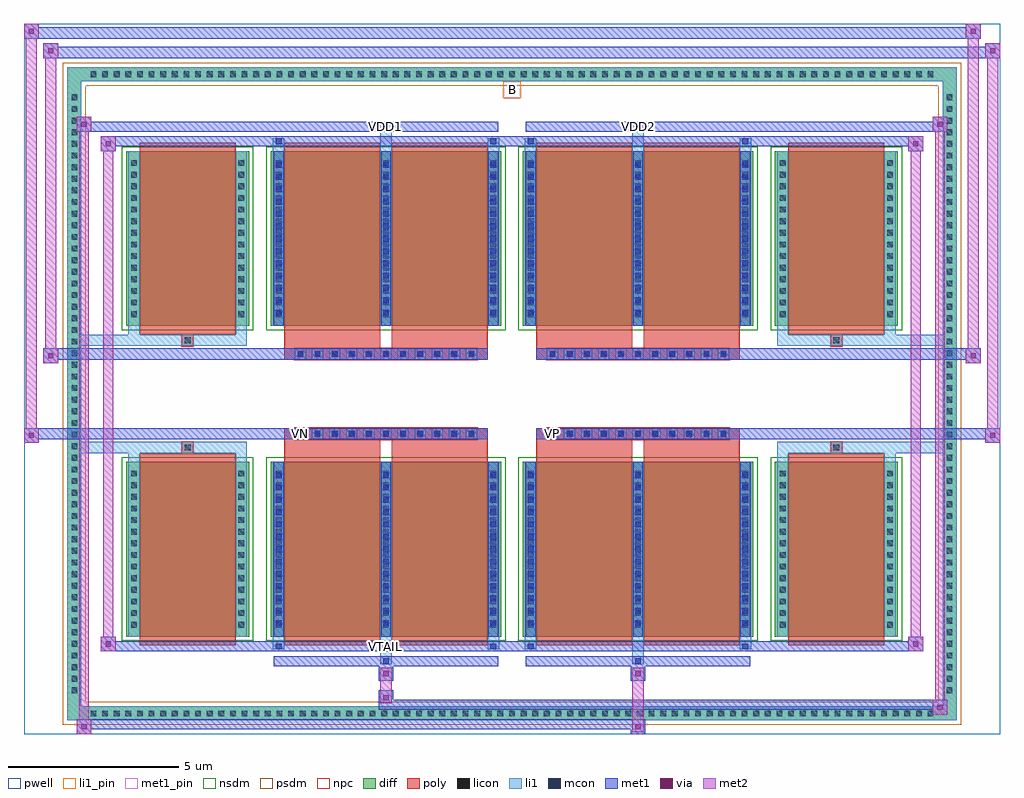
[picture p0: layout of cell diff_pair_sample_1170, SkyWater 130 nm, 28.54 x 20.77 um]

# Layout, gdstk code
import gdstk
lib = gdstk.Library(unit=1e-6, precision=5e-09)
def R(c, l, rs):  # rectangles x0, y0, x1, y1
    for r in rs: c.add(gdstk.rectangle(r[:2], r[2:], *l))
def A(c, l, x, y, w, h, nx, ny, dx, dy):  # array of equal rectangles
    R(c, l, [(x+i*dx, y+j*dy, x+i*dx+w, y+j*dy+h) for i in range(nx) for j in range(ny)])
def P(c, l, *ps):  # polygons
    for p in ps: c.add(gdstk.Polygon(p, *l))
pwell = (64, 44)
diff = (65, 20)
poly = (66, 20)
licon = (66, 44)
li1_pin = (67, 16)
li1 = (67, 20)
mcon = (67, 44)
met1_pin = (68, 16)
met1 = (68, 20)
via = (68, 44)
met2 = (69, 20)
nsdm = (93, 44)
psdm = (94, 20)
npc = (95, 20)

diff_pair_sample_1170 = lib.new_cell('diff_pair_sample_1170')
R(diff_pair_sample_1170, pwell, [(-14.27,-9.95,14.27,10.82), (-11.59,-8.14,-0.01,-0.8), (0.01,-8.14,11.59,-0.8), (-11.59,0.8,-0.01,8.14), (0.01,0.8,11.59,8.14)])
A(diff_pair_sample_1170, diff, -12.445, -9.55, 0.41, 0.41, 73, 2, 0.34, 18.69)
A(diff_pair_sample_1170, diff, -13, -8.875, 0.41, 0.41, 1, 52, 0, 0.34)
A(diff_pair_sample_1170, diff, 12.59, -8.875, 0.41, 0.41, 1, 52, 0, 0.34)
R(diff_pair_sample_1170, diff, [(-12.445,-9.55,12.445,-9.14), (-13,-8.875,-12.59,8.875), (12.59,-8.875,13,8.875), (-11.28,-7.095,-7.69,-1.985), (-7.05,-7.095,-0.32,-1.985), (0.32,-7.095,7.05,-1.985), (7.69,-7.095,11.28,-1.985), (-11.28,1.985,-7.69,7.095), (-7.05,1.985,-0.32,7.095), (0.32,1.985,7.05,7.095), (7.69,1.985,11.28,7.095), (-12.445,9.14,12.445,9.55)])
P(diff_pair_sample_1170, diff, [(13,9.55),(-13,9.55),(-13,-9.14),(-12.59,-9.14),(-12.59,9.14),(12.59,9.14),(12.59,-9.14),(-12.59,-9.14),(-13,-9.14),(-13,-9.55),(13,-9.55)])
A(diff_pair_sample_1170, poly, -6.35, -1.33, 0.33, 0.33, 11, 2, 0.5, 2.33)
A(diff_pair_sample_1170, poly, 1.02, -1.33, 0.33, 0.33, 11, 2, 0.5, 2.33)
R(diff_pair_sample_1170, poly, [(-10.89,-7.345,-8.08,-1.735), (-6.66,-7.345,-3.85,-1.735), (-3.52,-7.345,-0.71,-1.735), (0.71,-7.345,3.52,-1.735), (3.85,-7.345,6.66,-1.735), (8.08,-7.345,10.89,-1.735), (-9.65,-1.735,-9.32,-1.405), (-9.65,-1.735,-9.32,-1.405), (-6.66,-1.735,-3.85,-1.33), (-3.52,-1.735,-0.71,-1.33), (0.71,-1.735,3.52,-1.33), (3.85,-1.735,6.66,-1.33), (9.32,-1.735,9.65,-1.405), (9.32,-1.735,9.65,-1.405), (-6.66,-1.33,-0.71,-1), (0.71,-1.33,6.66,-1), (-6.66,1,-0.71,1.33), (0.71,1,6.66,1.33), (-6.66,1.33,-3.85,1.735), (-3.52,1.33,-0.71,1.735), (0.71,1.33,3.52,1.735), (3.85,1.33,6.66,1.735), (-9.65,1.405,-9.32,1.735), (-9.65,1.405,-9.32,1.735), (9.32,1.405,9.65,1.735), (9.32,1.405,9.65,1.735), (-10.89,1.735,-8.08,7.345), (-6.66,1.735,-3.85,7.345), (-3.52,1.735,-0.71,7.345), (0.71,1.735,3.52,7.345), (3.85,1.735,6.66,7.345), (8.08,1.735,10.89,7.345)])
A(diff_pair_sample_1170, licon, -12.325, -9.43, 0.17, 0.17, 73, 2, 0.34, 18.69)
A(diff_pair_sample_1170, licon, -12.88, -8.755, 0.17, 0.17, 1, 52, 0, 0.34)
A(diff_pair_sample_1170, licon, 12.71, -8.755, 0.17, 0.17, 1, 52, 0, 0.34)
A(diff_pair_sample_1170, licon, -11.14, -6.835, 0.17, 0.17, 1, 14, 0, 0.34)
A(diff_pair_sample_1170, licon, -8, -6.835, 0.17, 0.17, 1, 14, 0, 0.34)
A(diff_pair_sample_1170, licon, -6.91, -6.835, 0.17, 0.17, 3, 14, 3.14, 0.34)
A(diff_pair_sample_1170, licon, 0.46, -6.835, 0.17, 0.17, 3, 14, 3.14, 0.34)
A(diff_pair_sample_1170, licon, 7.83, -6.835, 0.17, 0.17, 1, 14, 0, 0.34)
A(diff_pair_sample_1170, licon, 10.97, -6.835, 0.17, 0.17, 1, 14, 0, 0.34)
A(diff_pair_sample_1170, licon, -6.27, -1.25, 0.17, 0.17, 11, 2, 0.5, 2.33)
A(diff_pair_sample_1170, licon, 1.1, -1.25, 0.17, 0.17, 11, 2, 0.5, 2.33)
A(diff_pair_sample_1170, licon, -11.14, 2.245, 0.17, 0.17, 1, 14, 0, 0.34)
A(diff_pair_sample_1170, licon, -8, 2.245, 0.17, 0.17, 1, 14, 0, 0.34)
A(diff_pair_sample_1170, licon, -6.91, 2.245, 0.17, 0.17, 3, 14, 3.14, 0.34)
A(diff_pair_sample_1170, licon, 0.46, 2.245, 0.17, 0.17, 3, 14, 3.14, 0.34)
A(diff_pair_sample_1170, licon, 7.83, 2.245, 0.17, 0.17, 1, 14, 0, 0.34)
A(diff_pair_sample_1170, licon, 10.97, 2.245, 0.17, 0.17, 1, 14, 0, 0.34)
R(diff_pair_sample_1170, licon, [(-9.57,-1.655,-9.4,-1.485), (9.4,-1.655,9.57,-1.485), (-9.57,1.485,-9.4,1.655), (9.4,1.485,9.57,1.655)])
R(diff_pair_sample_1170, li1_pin, [(-0.25,8.64,0.25,9.14)])
A(diff_pair_sample_1170, li1, -12.405, -9.51, 0.33, 0.33, 73, 2, 0.34, 18.69)
A(diff_pair_sample_1170, li1, -12.96, -8.835, 0.33, 0.33, 1, 52, 0, 0.34)
A(diff_pair_sample_1170, li1, 12.63, -8.835, 0.33, 0.33, 1, 52, 0, 0.34)
A(diff_pair_sample_1170, li1, -6.99, -7.095, 0.33, 5.11, 3, 2, 3.14, 9.08)
A(diff_pair_sample_1170, li1, 0.38, -7.095, 0.33, 5.11, 3, 2, 3.14, 9.08)
A(diff_pair_sample_1170, li1, -11.22, -6.915, 0.33, 0.33, 1, 14, 0, 0.34)
A(diff_pair_sample_1170, li1, -8.08, -6.915, 0.33, 0.33, 1, 14, 0, 0.34)
A(diff_pair_sample_1170, li1, -6.99, -6.915, 0.33, 0.33, 3, 14, 3.14, 0.34)
A(diff_pair_sample_1170, li1, 0.38, -6.915, 0.33, 0.33, 3, 14, 3.14, 0.34)
A(diff_pair_sample_1170, li1, 7.75, -6.915, 0.33, 0.33, 1, 14, 0, 0.34)
A(diff_pair_sample_1170, li1, 10.89, -6.915, 0.33, 0.33, 1, 14, 0, 0.34)
A(diff_pair_sample_1170, li1, -6.91, -6.785, 0.17, 0.17, 3, 13, 3.14, 0.36)
A(diff_pair_sample_1170, li1, -6.91, -6.785, 0.17, 4.49, 3, 2, 3.14, 9.08)
A(diff_pair_sample_1170, li1, 0.46, -6.785, 0.17, 0.17, 3, 13, 3.14, 0.36)
A(diff_pair_sample_1170, li1, 0.46, -6.785, 0.17, 4.49, 3, 2, 3.14, 9.08)
A(diff_pair_sample_1170, li1, -6.35, -1.33, 0.33, 0.33, 11, 2, 0.5, 2.33)
A(diff_pair_sample_1170, li1, 1.02, -1.33, 0.33, 0.33, 11, 2, 0.5, 2.33)
A(diff_pair_sample_1170, li1, -11.22, 2.165, 0.33, 0.33, 1, 14, 0, 0.34)
A(diff_pair_sample_1170, li1, -8.08, 2.165, 0.33, 0.33, 1, 14, 0, 0.34)
A(diff_pair_sample_1170, li1, -6.99, 2.165, 0.33, 0.33, 3, 14, 3.14, 0.34)
A(diff_pair_sample_1170, li1, 0.38, 2.165, 0.33, 0.33, 3, 14, 3.14, 0.34)
A(diff_pair_sample_1170, li1, 7.75, 2.165, 0.33, 0.33, 1, 14, 0, 0.34)
A(diff_pair_sample_1170, li1, 10.89, 2.165, 0.33, 0.33, 1, 14, 0, 0.34)
A(diff_pair_sample_1170, li1, -6.91, 2.295, 0.17, 0.17, 3, 13, 3.14, 0.36)
A(diff_pair_sample_1170, li1, 0.46, 2.295, 0.17, 0.17, 3, 13, 3.14, 0.36)
R(diff_pair_sample_1170, li1, [(-13,-9.55,-12.59,-9.14), (-13,-9.55,-12.59,-9.14), (-12.59,-9.55,12.59,-9.14), (12.59,-9.55,13,-9.14), (12.59,-9.55,13,-9.14), (-13,-9.14,-12.59,9.14), (12.59,-9.14,13,9.14), (-3.85,-7.9,-3.52,-7.095), (-3.77,-7.9,-3.6,-7.73), (3.52,-7.9,3.85,-7.095), (3.6,-7.9,3.77,-7.73), (-6.99,-7.47,-6.66,-7.095), (-6.91,-7.47,-6.74,-7.3), (-0.71,-7.47,-0.38,-7.095), (-0.63,-7.47,-0.46,-7.3), (0.38,-7.47,0.71,-7.095), (0.46,-7.47,0.63,-7.3), (6.66,-7.47,6.99,-7.095), (6.74,-7.47,6.91,-7.3), (-11.22,-7.095,-10.89,-1.985), (-8.08,-7.095,-7.75,-1.985), (7.75,-7.095,8.08,-1.985), (10.89,-7.095,11.22,-1.985), (-11.22,-1.985,-10.89,-1.405), (-8.08,-1.985,-7.75,-1.405), (7.75,-1.985,8.08,-1.405), (10.89,-1.985,11.22,-1.405), (-13,-1.735,-9.65,-1.405), (-11.22,-1.735,-9.65,-1.405), (-9.65,-1.735,-9.32,-1.405), (-9.32,-1.735,-7.75,-1.405), (7.75,-1.735,9.32,-1.405), (9.32,-1.735,9.65,-1.405), (9.32,-1.735,13,-1.405), (9.65,-1.735,11.22,-1.405), (-13,1.405,-9.65,1.735), (-11.22,1.405,-9.65,1.735), (-11.22,1.405,-10.89,1.985), (-9.65,1.405,-9.32,1.735), (-9.32,1.405,-7.75,1.735), (-8.08,1.405,-7.75,1.985), (7.75,1.405,9.32,1.735), (7.75,1.405,8.08,1.985), (9.32,1.405,9.65,1.735), (9.32,1.405,13,1.735), (9.65,1.405,11.22,1.735), (10.89,1.405,11.22,1.985), (-11.22,1.985,-10.89,7.095), (-8.08,1.985,-7.75,7.095), (7.75,1.985,8.08,7.095), (10.89,1.985,11.22,7.095), (-6.99,7.095,-6.66,7.47), (-3.85,7.095,-3.52,7.9), (-0.71,7.095,-0.38,7.47), (0.38,7.095,0.71,7.47), (3.52,7.095,3.85,7.9), (6.66,7.095,6.99,7.47), (-6.91,7.3,-6.74,7.47), (-0.63,7.3,-0.46,7.47), (0.46,7.3,0.63,7.47), (6.74,7.3,6.91,7.47), (-3.77,7.73,-3.6,7.9), (3.6,7.73,3.77,7.9), (-13,9.14,-12.59,9.55), (-13,9.14,-12.59,9.55), (-12.59,9.14,12.59,9.55), (12.59,9.14,13,9.55), (12.59,9.14,13,9.55)])
A(diff_pair_sample_1170, mcon, -6.91, -6.785, 0.17, 0.17, 3, 13, 3.14, 0.36)
A(diff_pair_sample_1170, mcon, 0.46, -6.785, 0.17, 0.17, 3, 13, 3.14, 0.36)
A(diff_pair_sample_1170, mcon, -6.27, -1.25, 0.17, 0.17, 11, 2, 0.5, 2.33)
A(diff_pair_sample_1170, mcon, 1.1, -1.25, 0.17, 0.17, 11, 2, 0.5, 2.33)
A(diff_pair_sample_1170, mcon, -6.91, 2.295, 0.17, 0.17, 3, 13, 3.14, 0.36)
A(diff_pair_sample_1170, mcon, 0.46, 2.295, 0.17, 0.17, 3, 13, 3.14, 0.36)
R(diff_pair_sample_1170, mcon, [(-3.77,-7.9,-3.6,-7.73), (3.6,-7.9,3.77,-7.73), (-6.91,-7.47,-6.74,-7.3), (-0.63,-7.47,-0.46,-7.3), (0.46,-7.47,0.63,-7.3), (6.74,-7.47,6.91,-7.3), (-6.91,7.3,-6.74,7.47), (-0.63,7.3,-0.46,7.47), (0.46,7.3,0.63,7.47), (6.74,7.3,6.91,7.47), (-3.77,7.73,-3.6,7.9), (3.6,7.73,3.77,7.9)])
R(diff_pair_sample_1170, met1_pin, [(-3.82,-7.51,-3.55,-7.24), (-6.32,-1.29,-6.05,-1.02), (1.05,-1.29,1.32,-1.02), (-3.82,7.69,-3.55,7.96), (3.55,7.69,3.82,7.96)])
A(diff_pair_sample_1170, met1, -6.97, -7.095, 0.29, 5.11, 3, 2, 3.14, 9.08)
A(diff_pair_sample_1170, met1, 0.4, -7.095, 0.29, 5.11, 3, 2, 3.14, 9.08)
A(diff_pair_sample_1170, met1, -6.97, -6.845, 0.29, 0.29, 3, 13, 3.14, 0.36)
A(diff_pair_sample_1170, met1, 0.4, -6.845, 0.29, 0.29, 3, 13, 3.14, 0.36)
A(diff_pair_sample_1170, met1, -6.33, -1.31, 0.29, 0.29, 11, 2, 0.5, 2.33)
A(diff_pair_sample_1170, met1, 1.04, -1.31, 0.29, 0.29, 11, 2, 0.5, 2.33)
A(diff_pair_sample_1170, met1, -6.97, 2.235, 0.29, 0.29, 3, 13, 3.14, 0.36)
A(diff_pair_sample_1170, met1, 0.4, 2.235, 0.29, 0.29, 3, 13, 3.14, 0.36)
R(diff_pair_sample_1170, met1, [(-12.73,-9.95,-12.3,-9.52), (3.47,-9.95,3.9,-9.52), (-12.73,-9.81,3.9,-9.52), (12.3,-9.38,12.73,-8.95), (-3.9,-9.24,12.73,-8.95), (-3.9,-9.1,-3.47,-8.67), (-3.9,-8.39,-3.47,-7.96), (3.47,-8.39,3.9,-7.96), (-6.97,-7.96,-0.4,-7.67), (-3.83,-7.96,-3.54,-7.67), (0.4,-7.96,6.97,-7.67), (3.54,-7.96,3.83,-7.67), (-12.02,-7.53,-11.59,-7.1), (-12.02,-7.53,-6.97,-7.24), (-6.97,-7.53,-6.68,-7.24), (-6.97,-7.53,-0.4,-7.24), (-0.69,-7.53,-0.4,-7.24), (-0.4,-7.53,0.4,-7.24), (0.4,-7.53,0.69,-7.24), (0.4,-7.53,6.97,-7.24), (6.68,-7.53,6.97,-7.24), (6.97,-7.53,12.02,-7.24), (11.59,-7.53,12.02,-7.1), (-14.27,-1.43,-13.84,-1), (13.84,-1.43,14.27,-1), (-14.27,-1.33,-0.71,-1), (-6.66,-1.33,-0.71,-1), (0.71,-1.33,6.66,-1), (0.71,-1.33,14.27,-1), (-13.7,0.9,-13.27,1.33), (13.27,0.9,13.7,1.33), (-13.7,1,-6.66,1.33), (-6.66,1,-0.71,1.33), (0.71,1,6.66,1.33), (6.66,1,13.7,1.33), (-12.02,7.1,-11.59,7.53), (11.59,7.1,12.02,7.53), (-12.02,7.24,-6.97,7.53), (-6.97,7.24,-6.68,7.53), (-6.97,7.24,-0.4,7.53), (-0.69,7.24,-0.4,7.53), (-0.4,7.24,0.4,7.53), (0.4,7.24,0.69,7.53), (0.4,7.24,6.97,7.53), (6.68,7.24,6.97,7.53), (6.97,7.24,12.02,7.53), (-12.73,7.67,-12.3,8.1), (-12.73,7.67,-6.97,7.96), (-6.97,7.67,-0.4,7.96), (-3.83,7.67,-3.54,7.96), (0.4,7.67,6.97,7.96), (3.54,7.67,3.83,7.96), (6.97,7.67,12.73,7.96), (12.3,7.67,12.73,8.1), (-13.7,9.82,-13.27,10.25), (-13.7,9.82,-11.59,10.15), (-11.59,9.82,11.59,10.15), (11.59,9.82,14.27,10.15), (13.84,9.82,14.27,10.25), (-14.27,10.39,-13.84,10.82), (-14.27,10.39,-11.59,10.72), (-11.59,10.39,11.59,10.72), (11.59,10.39,13.7,10.72), (13.27,10.39,13.7,10.82)])
R(diff_pair_sample_1170, via, [(-12.59,-9.81,-12.44,-9.66), (3.61,-9.81,3.76,-9.66), (12.44,-9.24,12.59,-9.09), (-3.76,-8.96,-3.61,-8.81), (-3.76,-8.25,-3.61,-8.1), (3.61,-8.25,3.76,-8.1), (-11.88,-7.39,-11.73,-7.24), (11.73,-7.39,11.88,-7.24), (-14.13,-1.29,-13.98,-1.14), (13.98,-1.29,14.13,-1.14), (-13.56,1.04,-13.41,1.19), (13.41,1.04,13.56,1.19), (-11.88,7.24,-11.73,7.39), (11.73,7.24,11.88,7.39), (-12.59,7.81,-12.44,7.96), (12.44,7.81,12.59,7.96), (-13.56,9.96,-13.41,10.11), (13.98,9.96,14.13,10.11), (-14.13,10.53,-13.98,10.68), (13.41,10.53,13.56,10.68)])
R(diff_pair_sample_1170, met2, [(-12.73,-9.95,-12.3,-9.52), (-12.66,-9.95,-12.37,8.1), (-12.37,-9.95,-12.3,-9.52), (-12.68,-9.9,-12.35,-9.57), (3.52,-9.9,3.85,-9.57), (3.52,-9.57,3.85,-8.34), (12.3,-9.38,12.73,-8.95), (12.37,-9.38,12.66,8.1), (12.66,-9.38,12.73,-8.95), (12.35,-9.33,12.68,-9), (-3.85,-9.05,-3.52,-8.72), (-3.85,-8.72,-3.52,-8.34), (-3.85,-8.34,-3.52,-8.01), (3.52,-8.34,3.85,-8.01), (-12.02,-7.53,-11.59,-7.1), (-11.95,-7.53,-11.66,7.53), (-11.66,-7.53,-11.59,-7.1), (11.59,-7.53,12.02,-7.1), (11.66,-7.53,11.95,7.53), (11.95,-7.53,12.02,-7.1), (-11.97,-7.48,-11.64,-7.15), (11.64,-7.48,11.97,-7.15), (-14.27,-1.43,-13.84,-1), (-14.22,-1.43,-13.89,10.82), (-13.89,-1.43,-13.84,-1), (13.84,-1.43,14.27,-1), (13.89,-1.43,14.22,10.25), (14.22,-1.43,14.27,-1), (-14.22,-1.38,-13.89,-1.05), (13.89,-1.38,14.22,-1.05), (-13.7,0.9,-13.27,1.33), (-13.65,0.9,-13.32,10.25), (-13.32,0.9,-13.27,1.33), (13.27,0.9,13.7,1.33), (13.32,0.9,13.65,10.82), (13.65,0.9,13.7,1.33), (-13.65,0.95,-13.32,1.28), (13.32,0.95,13.65,1.28), (-12.02,7.1,-11.59,7.53), (-11.66,7.1,-11.59,7.53), (11.59,7.1,12.02,7.53), (11.95,7.1,12.02,7.53), (-11.97,7.15,-11.64,7.48), (11.64,7.15,11.97,7.48), (-12.73,7.67,-12.3,8.1), (-12.37,7.67,-12.3,8.1), (12.3,7.67,12.73,8.1), (12.66,7.67,12.73,8.1), (-12.68,7.72,-12.35,8.05), (12.35,7.72,12.68,8.05), (-13.7,9.82,-13.27,10.25), (-13.32,9.82,-13.27,10.25), (13.84,9.82,14.27,10.25), (14.22,9.82,14.27,10.25), (-13.65,9.87,-13.32,10.2), (13.89,9.87,14.22,10.2), (-14.27,10.39,-13.84,10.82), (-13.89,10.39,-13.84,10.82), (13.27,10.39,13.7,10.82), (13.65,10.39,13.7,10.82), (-14.22,10.44,-13.89,10.77), (13.32,10.44,13.65,10.77)])
R(diff_pair_sample_1170, nsdm, [(-11.41,-7.225,-7.56,-1.855), (-7.18,-7.225,-0.19,-1.855), (0.19,-7.225,7.18,-1.855), (7.56,-7.225,11.41,-1.855), (-11.41,1.855,-7.56,7.225), (-7.18,1.855,-0.19,7.225), (0.19,1.855,7.18,7.225), (7.56,1.855,11.41,7.225)])
P(diff_pair_sample_1170, psdm, [(13.13,9.68),(-13.13,9.68),(-13.13,-9.01),(-12.46,-9.01),(-12.46,9.01),(12.46,9.01),(12.46,-9.01),(-12.46,-9.01),(-13.13,-9.01),(-13.13,-9.68),(13.13,-9.68)])
A(diff_pair_sample_1170, npc, -6.37, -1.35, 0.37, 0.37, 11, 2, 0.5, 2.33)
A(diff_pair_sample_1170, npc, 1, -1.35, 0.37, 0.37, 11, 2, 0.5, 2.33)
R(diff_pair_sample_1170, npc, [(-9.67,-1.755,-9.3,-1.385), (9.3,-1.755,9.67,-1.385), (-6.37,-1.35,-5.5,-0.98), (-6.37,-1.35,-5.5,-0.98), (-5.87,-1.35,-5,-0.98), (-5.87,-1.35,-5,-0.98), (-5.37,-1.35,-4.5,-0.98), (-5.37,-1.35,-4.5,-0.98), (-4.87,-1.35,-4,-0.98), (-4.87,-1.35,-4,-0.98), (-4.37,-1.35,-3.5,-0.98), (-4.37,-1.35,-3.5,-0.98), (-3.87,-1.35,-3,-0.98), (-3.87,-1.35,-3,-0.98), (-3.37,-1.35,-2.5,-0.98), (-3.37,-1.35,-2.5,-0.98), (-2.87,-1.35,-2,-0.98), (-2.87,-1.35,-2,-0.98), (-2.37,-1.35,-1.5,-0.98), (-2.37,-1.35,-1.5,-0.98), (-1.87,-1.35,-1,-0.98), (-1.87,-1.35,-1,-0.98), (1,-1.35,1.87,-0.98), (1,-1.35,1.87,-0.98), (1.5,-1.35,2.37,-0.98), (1.5,-1.35,2.37,-0.98), (2,-1.35,2.87,-0.98), (2,-1.35,2.87,-0.98), (2.5,-1.35,3.37,-0.98), (2.5,-1.35,3.37,-0.98), (3,-1.35,3.87,-0.98), (3,-1.35,3.87,-0.98), (3.5,-1.35,4.37,-0.98), (3.5,-1.35,4.37,-0.98), (4,-1.35,4.87,-0.98), (4,-1.35,4.87,-0.98), (4.5,-1.35,5.37,-0.98), (4.5,-1.35,5.37,-0.98), (5,-1.35,5.87,-0.98), (5,-1.35,5.87,-0.98), (5.5,-1.35,6.37,-0.98), (5.5,-1.35,6.37,-0.98), (-6.37,0.98,-5.5,1.35), (-6.37,0.98,-5.5,1.35), (-5.87,0.98,-5,1.35), (-5.87,0.98,-5,1.35), (-5.37,0.98,-4.5,1.35), (-5.37,0.98,-4.5,1.35), (-4.87,0.98,-4,1.35), (-4.87,0.98,-4,1.35), (-4.37,0.98,-3.5,1.35), (-4.37,0.98,-3.5,1.35), (-3.87,0.98,-3,1.35), (-3.87,0.98,-3,1.35), (-3.37,0.98,-2.5,1.35), (-3.37,0.98,-2.5,1.35), (-2.87,0.98,-2,1.35), (-2.87,0.98,-2,1.35), (-2.37,0.98,-1.5,1.35), (-2.37,0.98,-1.5,1.35), (-1.87,0.98,-1,1.35), (-1.87,0.98,-1,1.35), (1,0.98,1.87,1.35), (1,0.98,1.87,1.35), (1.5,0.98,2.37,1.35), (1.5,0.98,2.37,1.35), (2,0.98,2.87,1.35), (2,0.98,2.87,1.35), (2.5,0.98,3.37,1.35), (2.5,0.98,3.37,1.35), (3,0.98,3.87,1.35), (3,0.98,3.87,1.35), (3.5,0.98,4.37,1.35), (3.5,0.98,4.37,1.35), (4,0.98,4.87,1.35), (4,0.98,4.87,1.35), (4.5,0.98,5.37,1.35), (4.5,0.98,5.37,1.35), (5,0.98,5.87,1.35), (5,0.98,5.87,1.35), (5.5,0.98,6.37,1.35), (5.5,0.98,6.37,1.35), (-9.67,1.385,-9.3,1.755), (9.3,1.385,9.67,1.755)])
diff_pair_sample_1170.add(gdstk.Label('VTAIL', (-3.685,-7.375), layer=68, texttype=5))
diff_pair_sample_1170.add(gdstk.Label('VN', (-6.185,-1.155), layer=68, texttype=5))
diff_pair_sample_1170.add(gdstk.Label('VP', (1.185,-1.155), layer=68, texttype=5))
diff_pair_sample_1170.add(gdstk.Label('B', (0,8.89), layer=67, texttype=5))
diff_pair_sample_1170.add(gdstk.Label('VDD2', (3.685,7.825), layer=68, texttype=5))
diff_pair_sample_1170.add(gdstk.Label('VDD1', (-3.685,7.825), layer=68, texttype=5))

lib.write_gds('diff_pair_sample_1170.gds')
